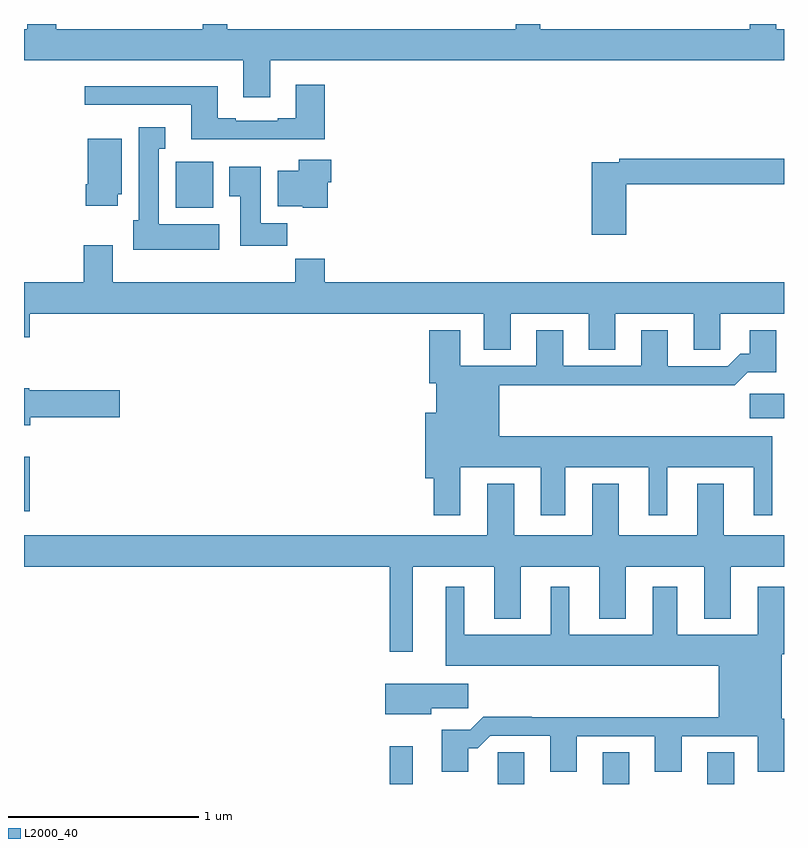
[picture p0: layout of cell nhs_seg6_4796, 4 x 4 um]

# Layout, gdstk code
import gdstk
lib = gdstk.Library(unit=1e-6, precision=1e-09)
def R(c, l, rs):  # rectangles x0, y0, x1, y1
    for r in rs: c.add(gdstk.rectangle(r[:2], r[2:], *l))
def P(c, l, *ps):  # polygons
    for p in ps: c.add(gdstk.Polygon(p, *l))
L2000_40 = (2000, 40)

nhs_seg6_4796 = lib.new_cell('nhs_seg6_4796')
R(nhs_seg6_4796, L2000_40, [(396.924,971.5,397.045,971.698), (397.494,971.5,397.633,971.666), (398.045,971.5,398.185,971.666), (398.597,971.5,398.737,971.666), (395,972.936,395.03,973.222), (398.82,973.424,399,973.553), (395.798,974.534,395.995,974.776)])
P(nhs_seg6_4796, L2000_40, [(396.295,975.308),(399,975.308),(399,975.472),(398.959,975.472),(398.959,975.5),(398.819,975.5),(398.819,975.472),(397.717,975.472),(397.717,975.5),(397.588,975.5),(397.588,975.472),(396.071,975.472),(396.071,975.5),(395.942,975.5),(395.942,975.472),(395.17,975.472),(395.17,975.5),(395.018,975.5),(395.018,975.472),(395,975.472),(395,975.308),(396.155,975.308),(396.155,975.114),(396.295,975.114)],
  [(396.584,975.181),(396.431,975.181),(396.431,975.004),(396.335,975.004),(396.335,974.991),(396.115,974.991),(396.115,975.004),(396.019,975.004),(396.019,975.172),(395.319,975.172),(395.319,975.075),(395.879,975.075),(395.879,974.894),(396.584,974.894)],
  [(396.028,974.446),(395.71,974.446),(395.71,974.843),(395.743,974.843),(395.743,974.956),(395.603,974.956),(395.603,974.466),(395.576,974.466),(395.576,974.312),(396.028,974.312)],
  [(395.494,974.604),(395.515,974.604),(395.515,974.896),(395.336,974.896),(395.336,974.656),(395.324,974.656),(395.324,974.544),(395.494,974.544)],
  [(398.171,974.656),(399,974.656),(399,974.792),(398.134,974.792),(398.134,974.772),(397.988,974.772),(397.988,974.391),(398.171,974.391)],
  [(396.599,974.667),(396.617,974.667),(396.617,974.785),(396.446,974.785),(396.446,974.728),(396.335,974.728),(396.335,974.54),(396.468,974.54),(396.468,974.534),(396.599,974.534)],
  [(396.386,974.452),(396.247,974.452),(396.247,974.749),(396.08,974.749),(396.08,974.593),(396.137,974.593),(396.137,974.334),(396.386,974.334)],
  [(397.561,973.976),(397.973,973.976),(397.973,973.786),(398.113,973.786),(398.113,973.976),(398.525,973.976),(398.525,973.786),(398.664,973.786),(398.664,973.976),(399,973.976),(399,974.14),(396.584,974.14),(396.584,974.264),(396.427,974.264),(396.427,974.14),(395.467,974.14),(395.467,974.335),(395.315,974.335),(395.315,974.14),(395,974.14),(395,973.852),(395.03,973.852),(395.03,973.976),(397.421,973.976),(397.421,973.786),(397.561,973.786)],
  [(397.297,973.166),(397.721,973.166),(397.721,972.915),(397.849,972.915),(397.849,973.166),(398.288,973.166),(398.288,972.915),(398.386,972.915),(398.386,973.166),(398.84,973.166),(398.84,972.915),(398.938,972.915),(398.938,973.33),(397.501,973.33),(397.501,973.6),(398.485,973.6),(398.485,973.598),(398.741,973.598),(398.81,973.667),(398.959,973.667),(398.959,973.888),(398.819,973.888),(398.819,973.765),(398.77,973.765),(398.703,973.698),(398.389,973.698),(398.389,973.888),(398.249,973.888),(398.249,973.701),(397.837,973.701),(397.837,973.888),(397.697,973.888),(397.697,973.701),(397.297,973.701),(397.297,973.888),(397.133,973.888),(397.133,973.608),(397.169,973.608),(397.169,973.453),(397.112,973.453),(397.112,973.109),(397.157,973.109),(397.157,972.915),(397.297,972.915)],
  [(395.032,973.43),(395.503,973.43),(395.503,973.572),(395.028,973.572),(395.028,973.582),(395,973.582),(395,973.388),(395.032,973.388)],
  [(397.045,972.644),(397.475,972.644),(397.475,972.371),(397.615,972.371),(397.615,972.644),(398.027,972.644),(398.027,972.371),(398.167,972.371),(398.167,972.644),(398.579,972.644),(398.579,972.371),(398.719,972.371),(398.719,972.644),(399,972.644),(399,972.808),(398.683,972.808),(398.683,973.081),(398.543,973.081),(398.543,972.808),(398.131,972.808),(398.131,973.081),(397.991,973.081),(397.991,972.808),(397.579,972.808),(397.579,973.081),(397.439,973.081),(397.439,972.808),(395,972.808),(395,972.644),(396.924,972.644),(396.924,972.195),(397.045,972.195)],
  [(397.339,971.687),(397.388,971.687),(397.455,971.754),(397.769,971.754),(397.769,971.565),(397.909,971.565),(397.909,971.751),(398.321,971.751),(398.321,971.565),(398.461,971.565),(398.461,971.751),(398.861,971.751),(398.861,971.565),(399,971.565),(399,971.844),(398.989,971.844),(398.989,972.182),(399,972.182),(399,972.538),(398.861,972.538),(398.861,972.286),(398.437,972.286),(398.437,972.538),(398.309,972.538),(398.309,972.286),(397.87,972.286),(397.87,972.538),(397.772,972.538),(397.772,972.286),(397.318,972.286),(397.318,972.538),(397.22,972.538),(397.22,972.122),(398.657,972.122),(398.657,971.852),(397.673,971.852),(397.673,971.855),(397.418,971.855),(397.348,971.785),(397.199,971.785),(397.199,971.565),(397.339,971.565)],
  [(397.144,971.899),(397.339,971.899),(397.339,972.028),(396.9,972.028),(396.9,971.867),(397.144,971.867)])

lib.write_gds('nhs_seg6_4796.gds')
